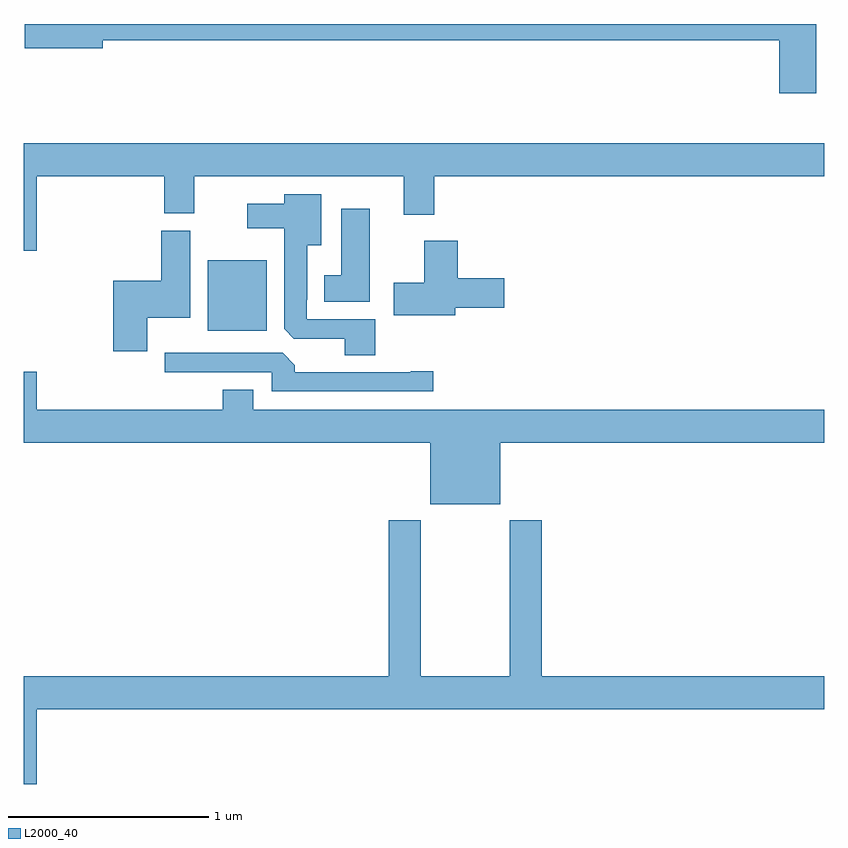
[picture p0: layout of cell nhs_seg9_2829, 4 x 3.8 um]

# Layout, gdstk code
import gdstk
lib = gdstk.Library(unit=1e-6, precision=1e-09)
def R(c, l, rs):  # rectangles x0, y0, x1, y1
    for r in rs: c.add(gdstk.rectangle(r[:2], r[2:], *l))
def P(c, l, *ps):  # polygons
    for p in ps: c.add(gdstk.Polygon(p, *l))
L2000_40 = (2000, 40)

nhs_seg9_2829 = lib.new_cell('nhs_seg9_2829')
R(nhs_seg9_2829, L2000_40, [(273.92,1208.966,274.213,1209.319)])
P(nhs_seg9_2829, L2000_40, [(276.959,1210.5),(273.006,1210.5),(273.006,1210.378),(273.394,1210.378),(273.394,1210.42),(276.776,1210.42),(276.776,1210.155),(276.959,1210.155)],
  [(273.064,1209.74),(273.701,1209.74),(273.701,1209.553),(273.853,1209.553),(273.853,1209.74),(274.898,1209.74),(274.898,1209.546),(275.051,1209.546),(275.051,1209.74),(277,1209.74),(277,1209.904),(273,1209.904),(273,1209.366),(273.064,1209.366)],
  [(274.757,1209.024),(274.413,1209.024),(274.413,1209.121),(274.417,1209.121),(274.417,1209.395),(274.486,1209.395),(274.486,1209.649),(274.301,1209.649),(274.301,1209.601),(274.116,1209.601),(274.116,1209.479),(274.301,1209.479),(274.301,1208.977),(274.35,1208.928),(274.604,1208.928),(274.604,1208.845),(274.757,1208.845)],
  [(274.729,1209.577),(274.586,1209.577),(274.586,1209.244),(274.502,1209.244),(274.502,1209.113),(274.729,1209.113)],
  [(273.616,1209.032),(273.832,1209.032),(273.832,1209.468),(273.686,1209.468),(273.686,1209.217),(273.446,1209.217),(273.446,1208.865),(273.616,1208.865)],
  [(275.155,1209.083),(275.401,1209.083),(275.401,1209.23),(275.168,1209.23),(275.168,1209.418),(275,1209.418),(275,1209.207),(274.848,1209.207),(274.848,1209.044),(275.155,1209.044)],
  [(275.047,1208.765),(274.934,1208.765),(274.934,1208.76),(274.355,1208.76),(274.355,1208.794),(274.293,1208.856),(273.705,1208.856),(273.705,1208.76),(274.239,1208.76),(274.239,1208.664),(275.047,1208.664)],
  [(275.38,1208.408),(277,1208.408),(277,1208.572),(274.147,1208.572),(274.147,1208.671),(273.995,1208.671),(273.995,1208.572),(273.064,1208.572),(273.064,1208.761),(273,1208.761),(273,1208.408),(275.03,1208.408),(275.03,1208.099),(275.38,1208.099)],
  [(273.064,1207.076),(277,1207.076),(277,1207.24),(275.588,1207.24),(275.588,1208.02),(275.428,1208.02),(275.428,1207.24),(274.983,1207.24),(274.983,1208.02),(274.823,1208.02),(274.823,1207.24),(273,1207.24),(273,1206.702),(273.064,1206.702)])

lib.write_gds('nhs_seg9_2829.gds')
